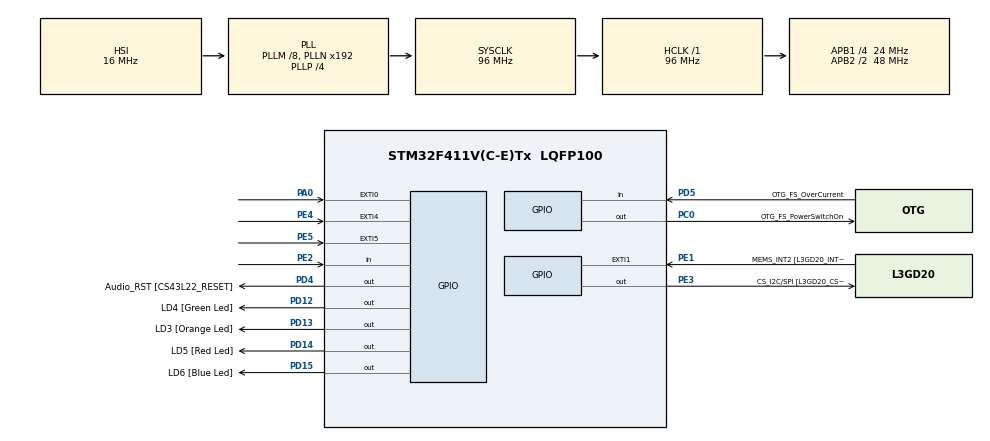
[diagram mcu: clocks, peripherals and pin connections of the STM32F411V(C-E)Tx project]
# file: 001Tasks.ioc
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Mcu.Family=STM32F4
Mcu.Name=STM32F411V(C-E)Tx
Mcu.Package=LQFP100
NVIC.PriorityGroup=NVIC_PRIORITYGROUP_4
NVIC.TIM5_IRQn=true\:0\:0\:false\:false\:true\:false\:true\:true
NVIC.TimeBase=TIM5_IRQn
NVIC.TimeBaseIP=TIM5
PA0-WKUP.GPIO_ModeDefaultEXTI=GPIO_MODE_EVT_RISING
PA0-WKUP.Signal=GPXTI0
PA10.GPIO_Label=OTG_FS_ID
PA10.Signal=USB_OTG_FS_ID
PA11.GPIO_Label=OTG_FS_DM
PA11.Signal=USB_OTG_FS_DM
PA12.GPIO_Label=OTG_FS_DP
PA12.Signal=USB_OTG_FS_DP
PA13.GPIO_Label=SWDIO
PA13.Signal=SYS_JTMS-SWDIO
PA14.GPIO_Label=SWCLK
PA14.Signal=SYS_JTCK-SWCLK
PA4.GPIO_Label=I2S3_WS [CS43L22_LRCK]
PA4.GPIO_Mode=GPIO_MODE_AF_PP
PA4.GPIO_PuPd=GPIO_NOPULL
PA4.GPIO_Speed=GPIO_SPEED_FREQ_LOW
PA4.Signal=I2S3_WS
PA5.GPIO_Label=SPI1_SCK [L3GD20_SC/SPC]
PA5.Signal=SPI1_SCK
PA6.GPIO_Label=SPI1_MISO [L3GD20_AS0/SDO]
PA6.Signal=SPI1_MISO
PA7.GPIO_Label=SPI1_MOSI [L3GD20_SDA/SDI/SDO]
PA7.Signal=SPI1_MOSI
PA9.GPIO_Label=VBUS_FS
PA9.Signal=USB_OTG_FS_VBUS
PB10.GPIO_Label=CLK_IN [MP45DT02_CLK]
PB10.Signal=I2S2_CK
PB12.Signal=I2S2_WS
PB3.GPIO_Label=SWO
PB3.Signal=SYS_JTDO-SWO
PB6.GPIO_Label=Audio_SCL [CS43L22_SCL]
PB6.GPIO_Mode=GPIO_MODE_AF_OD
PB6.GPIO_PuPd=GPIO_NOPULL
PB6.GPIO_Speed=GPIO_SPEED_FREQ_LOW
PB6.Signal=I2C1_SCL
PB9.GPIO_Label=Audio_SDA [CS43L22_SDA]
PB9.GPIO_Mode=GPIO_MODE_AF_OD
PB9.GPIO_PuPd=GPIO_NOPULL
PB9.GPIO_Speed=GPIO_SPEED_FREQ_LOW
PB9.Signal=I2C1_SDA
PC0.GPIO_Label=OTG_FS_PowerSwitchOn
PC0.PinState=GPIO_PIN_SET
PC0.Signal=GPIO_Output
PC10.GPIO_Label=I2S3_SCK [CS43L22_SCLK]
PC10.GPIO_Mode=GPIO_MODE_AF_PP
PC10.GPIO_PuPd=GPIO_NOPULL
PC10.GPIO_Speed=GPIO_SPEED_FREQ_LOW
PC10.Signal=I2S3_CK
PC12.GPIO_Label=I2S3_SD [CS43L22_SDIN]
PC12.GPIO_Mode=GPIO_MODE_AF_PP
PC12.GPIO_PuPd=GPIO_NOPULL
PC12.GPIO_Speed=GPIO_SPEED_FREQ_LOW
PC12.Signal=I2S3_SD
PC14-OSC32_IN.GPIO_Label=PC14-OSC32_IN
PC14-OSC32_IN.Signal=RCC_OSC32_IN
PC15-OSC32_OUT.GPIO_Label=PC15-OSC32_OUT
PC15-OSC32_OUT.Signal=RCC_OSC32_OUT
PC3.GPIO_Label=PDM_OUT [MP45DT02_DOUT]
PC3.Signal=I2S2_SD
PC7.GPIO_Label=I2S3_MCK [CS43L22_MCLK]
PC7.GPIO_Mode=GPIO_MODE_AF_PP
PC7.GPIO_PuPd=GPIO_NOPULL
PC7.GPIO_Speed=GPIO_SPEED_FREQ_LOW
PC7.Signal=I2S3_MCK
PD12.GPIO_Label=LD4 [Green Led]
PD12.GPIO_PuPd=GPIO_NOPULL
PD12.GPIO_Speed=GPIO_SPEED_FREQ_LOW
PD12.Signal=GPIO_Output
PD13.GPIO_Label=LD3 [Orange Led]
PD13.GPIO_PuPd=GPIO_NOPULL
PD13.GPIO_Speed=GPIO_SPEED_FREQ_LOW
PD13.Signal=GPIO_Output
PD14.GPIO_Label=LD5 [Red Led]
PD14.GPIO_PuPd=GPIO_NOPULL
PD14.GPIO_Speed=GPIO_SPEED_FREQ_LOW
PD14.Signal=GPIO_Output
PD15.GPIO_Label=LD6 [Blue Led]
PD15.GPIO_PuPd=GPIO_NOPULL
PD15.GPIO_Speed=GPIO_SPEED_FREQ_LOW
PD15.Signal=GPIO_Output
PD4.GPIO_Label=Audio_RST [CS43L22_RESET]
PD4.Signal=GPIO_Output
PD5.GPIO_Label=OTG_FS_OverCurrent
PD5.Signal=GPIO_Input
PE1.GPIO_Label=MEMS_INT2 [L3GD20_INT2]
PE1.GPIO_ModeDefaultEXTI=GPIO_MODE_EVT_RISING
PE1.Signal=GPXTI1
PE2.Signal=GPIO_Input
PE3.GPIO_Label=CS_I2C/SPI [L3GD20_CS_I2C/SPI]
PE3.Signal=GPIO_Output
PE4.GPIO_ModeDefaultEXTI=GPIO_MODE_EVT_RISING
PE4.Signal=GPXTI4
PE5.GPIO_ModeDefaultEXTI=GPIO_MODE_EVT_RISING
PE5.Signal=GPXTI5
PH0\ -\ OSC_IN.GPIO_Label=PH0-OSC_IN
PH0\ -\ OSC_IN.Signal=RCC_OSC_IN
PH1\ -\ OSC_OUT.GPIO_Label=PH1-OSC_OUT
PH1\ -\ OSC_OUT.Signal=RCC_OSC_OUT
ProjectManager.HeapSize=0x200
ProjectManager.StackSize=0x400
ProjectManager.TargetToolchain=STM32CubeIDE
RCC.48MHZClocksFreq_Value=48000000
RCC.AHBFreq_Value=96000000
RCC.APB1CLKDivider=RCC_HCLK_DIV4
RCC.APB1Freq_Value=24000000
RCC.APB1TimFreq_Value=48000000
RCC.APB2CLKDivider=RCC_HCLK_DIV2
RCC.APB2Freq_Value=48000000
RCC.APB2TimFreq_Value=96000000
RCC.CortexFreq_Value=96000000
RCC.HCLKFreq_Value=96000000
RCC.HSE_VALUE=8000000
RCC.HSI_VALUE=16000000
RCC.LSE_VALUE=32768
RCC.PLLI2SM=5
RCC.PLLI2SN=200
RCC.PLLM=8
RCC.PLLP=RCC_PLLP_DIV4
RCC.PLLQ=8
RCC.SYSCLKFreq_VALUE=96000000
RCC.SYSCLKSource=RCC_SYSCLKSOURCE_PLLCLK
RCC.VCOOutputFreq_Value=384000000
VP_SYS_VS_tim5.Mode=TIM5
board=STM32F411E-DISCO

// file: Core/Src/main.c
/* USER CODE BEGIN Header */
/**
  ******************************************************************************
  * @file           : main.c
  * @brief          : Main program body
  ******************************************************************************
  * @attention
  *
  * Copyright (c) 2024 STMicroelectronics.
  * All rights reserved.
  *
  * This software is licensed under terms that can be found in the LICENSE file
  * in the root directory of this software component.
  * If no LICENSE file comes with this software, it is provided AS-IS.
  *
  ******************************************************************************
  */
/* USER CODE END Header */
#include "main.h"

/* USER CODE BEGIN Includes */

#include <stdio.h>
#include "FreeRTOS.h"
#include "task.h"

/* USER CODE END Includes */

/* USER CODE BEGIN PV */

#define DWT_CTRL 				(*(volatile uint32_t *)0xE0001000)

/* USER CODE END PV */

void SystemClock_Config(void);
static void MX_GPIO_Init(void);
/* USER CODE BEGIN PFP */

static void task1_handler(void *parameters);
static void task2_handler(void *parameters);

/* USER CODE END PFP */

int main(void)
{

  /* USER CODE BEGIN 1 */

  TaskHandle_t task1_h;
  TaskHandle_t task2_h;

  BaseType_t status;

  /* USER CODE END 1 */

  /* MCU Configuration--------------------------------------------------------*/

  /* Reset of all peripherals, Initializes the Flash interface and the Systick. */
  HAL_Init();

  /* Configure the system clock */
  SystemClock_Config();

  /* Initialize all configured peripherals */
  MX_GPIO_Init();
  /* USER CODE BEGIN 2 */

  // Enable the CyCCNT counter
  DWT_CTRL |= ( 1 << 0 );

  SEGGER_SYSVIEW_Conf();
  SEGGER_SYSVIEW_Start();

  status = xTaskCreate(task1_handler, "Task-1", 200, "Hello world from Task-1", 2, &task1_h);

  configASSERT(status == pdPASS);

  status = xTaskCreate(task2_handler, "Task-2", 200, "Hello world from Task-2", 2, &task2_h);

  configASSERT(status == pdPASS);

  vTaskStartScheduler();

  /* USER CODE END 2 */

  /* Infinite loop */
  while (1)
  {

  }
}

void SystemClock_Config(void)
{
  RCC_OscInitTypeDef RCC_OscInitStruct = {0};
  RCC_ClkInitTypeDef RCC_ClkInitStruct = {0};

  /** Configure the main internal regulator output voltage
  */
  __HAL_RCC_PWR_CLK_ENABLE();
  __HAL_PWR_VOLTAGESCALING_CONFIG(PWR_REGULATOR_VOLTAGE_SCALE1);

  /** Initializes the RCC Oscillators according to the specified parameters
  * in the RCC_OscInitTypeDef structure.
  */
  RCC_OscInitStruct.OscillatorType = RCC_OSCILLATORTYPE_HSI;
  RCC_OscInitStruct.HSIState = RCC_HSI_ON;
  RCC_OscInitStruct.HSICalibrationValue = RCC_HSICALIBRATION_DEFAULT;
  RCC_OscInitStruct.PLL.PLLState = RCC_PLL_ON;
  RCC_OscInitStruct.PLL.PLLSource = RCC_PLLSOURCE_HSI;
  RCC_OscInitStruct.PLL.PLLM = 8;
  RCC_OscInitStruct.PLL.PLLN = 192;
  RCC_OscInitStruct.PLL.PLLP = RCC_PLLP_DIV4;
  RCC_OscInitStruct.PLL.PLLQ = 8;
  if (HAL_RCC_OscConfig(&RCC_OscInitStruct) != HAL_OK)
  {
    Error_Handler();
  }

  /** Initializes the CPU, AHB and APB buses clocks
  */
  RCC_ClkInitStruct.ClockType = RCC_CLOCKTYPE_HCLK|RCC_CLOCKTYPE_SYSCLK
                              |RCC_CLOCKTYPE_PCLK1|RCC_CLOCKTYPE_PCLK2;
  RCC_ClkInitStruct.SYSCLKSource = RCC_SYSCLKSOURCE_PLLCLK;
  RCC_ClkInitStruct.AHBCLKDivider = RCC_SYSCLK_DIV1;
  RCC_ClkInitStruct.APB1CLKDivider = RCC_HCLK_DIV4;
  RCC_ClkInitStruct.APB2CLKDivider = RCC_HCLK_DIV2;

  if (HAL_RCC_ClockConfig(&RCC_ClkInitStruct, FLASH_LATENCY_3) != HAL_OK)
  {
    Error_Handler();
  }
}

static void MX_GPIO_Init(void)
{
  GPIO_InitTypeDef GPIO_InitStruct = {0};

  /* GPIO Ports Clock Enable */
  __HAL_RCC_GPIOE_CLK_ENABLE();
  __HAL_RCC_GPIOC_CLK_ENABLE();
  __HAL_RCC_GPIOH_CLK_ENABLE();
  __HAL_RCC_GPIOA_CLK_ENABLE();
  __HAL_RCC_GPIOB_CLK_ENABLE();
  __HAL_RCC_GPIOD_CLK_ENABLE();

  /*Configure GPIO pin Output Level */
  HAL_GPIO_WritePin(CS_I2C_SPI_GPIO_Port, CS_I2C_SPI_Pin, GPIO_PIN_RESET);

  /*Configure GPIO pin Output Level */
  HAL_GPIO_WritePin(OTG_FS_PowerSwitchOn_GPIO_Port, OTG_FS_PowerSwitchOn_Pin, GPIO_PIN_SET);

  /*Configure GPIO pin Output Level */
  HAL_GPIO_WritePin(GPIOD, LD4_Pin|LD3_Pin|LD5_Pin|LD6_Pin
                          |Audio_RST_Pin, GPIO_PIN_RESET);

  /*Configure GPIO pin : PE2 */
  GPIO_InitStruct.Pin = GPIO_PIN_2;
  GPIO_InitStruct.Mode = GPIO_MODE_INPUT;
  GPIO_InitStruct.Pull = GPIO_NOPULL;
  HAL_GPIO_Init(GPIOE, &GPIO_InitStruct);

  /*Configure GPIO pin : CS_I2C_SPI_Pin */
  GPIO_InitStruct.Pin = CS_I2C_SPI_Pin;
  GPIO_InitStruct.Mode = GPIO_MODE_OUTPUT_PP;
  GPIO_InitStruct.Pull = GPIO_NOPULL;
  GPIO_InitStruct.Speed = GPIO_SPEED_FREQ_LOW;
  HAL_GPIO_Init(CS_I2C_SPI_GPIO_Port, &GPIO_InitStruct);

  /*Configure GPIO pins : PE4 PE5 MEMS_INT2_Pin */
  GPIO_InitStruct.Pin = GPIO_PIN_4|GPIO_PIN_5|MEMS_INT2_Pin;
  GPIO_InitStruct.Mode = GPIO_MODE_EVT_RISING;
  GPIO_InitStruct.Pull = GPIO_NOPULL;
  HAL_GPIO_Init(GPIOE, &GPIO_InitStruct);

  /*Configure GPIO pin : OTG_FS_PowerSwitchOn_Pin */
  GPIO_InitStruct.Pin = OTG_FS_PowerSwitchOn_Pin;
  GPIO_InitStruct.Mode = GPIO_MODE_OUTPUT_PP;
  GPIO_InitStruct.Pull = GPIO_NOPULL;
  GPIO_InitStruct.Speed = GPIO_SPEED_FREQ_LOW;
  HAL_GPIO_Init(OTG_FS_PowerSwitchOn_GPIO_Port, &GPIO_InitStruct);

  /*Configure GPIO pin : PDM_OUT_Pin */
  GPIO_InitStruct.Pin = PDM_OUT_Pin;
  GPIO_InitStruct.Mode = GPIO_MODE_AF_PP;
  GPIO_InitStruct.Pull = GPIO_NOPULL;
  GPIO_InitStruct.Speed = GPIO_SPEED_FREQ_LOW;
  GPIO_InitStruct.Alternate = GPIO_AF5_SPI2;
  HAL_GPIO_Init(PDM_OUT_GPIO_Port, &GPIO_InitStruct);

  /*Configure GPIO pin : PA0 */
  GPIO_InitStruct.Pin = GPIO_PIN_0;
  GPIO_InitStruct.Mode = GPIO_MODE_EVT_RISING;
  GPIO_InitStruct.Pull = GPIO_NOPULL;
  HAL_GPIO_Init(GPIOA, &GPIO_InitStruct);

  /*Configure GPIO pin : I2S3_WS_Pin */
  GPIO_InitStruct.Pin = I2S3_WS_Pin;
  GPIO_InitStruct.Mode = GPIO_MODE_AF_PP;
  GPIO_InitStruct.Pull = GPIO_NOPULL;
  GPIO_InitStruct.Speed = GPIO_SPEED_FREQ_LOW;
  GPIO_InitStruct.Alternate = GPIO_AF6_SPI3;
  HAL_GPIO_Init(I2S3_WS_GPIO_Port, &GPIO_InitStruct);

  /*Configure GPIO pins : SPI1_SCK_Pin SPI1_MISO_Pin SPI1_MOSI_Pin */
  GPIO_InitStruct.Pin = SPI1_SCK_Pin|SPI1_MISO_Pin|SPI1_MOSI_Pin;
  GPIO_InitStruct.Mode = GPIO_MODE_AF_PP;
  GPIO_InitStruct.Pull = GPIO_NOPULL;
  GPIO_InitStruct.Speed = GPIO_SPEED_FREQ_VERY_HIGH;
  GPIO_InitStruct.Alternate = GPIO_AF5_SPI1;
  HAL_GPIO_Init(GPIOA, &GPIO_InitStruct);

  /*Configure GPIO pins : CLK_IN_Pin PB12 */
  GPIO_InitStruct.Pin = CLK_IN_Pin|GPIO_PIN_12;
  GPIO_InitStruct.Mode = GPIO_MODE_AF_PP;
  GPIO_InitStruct.Pull = GPIO_NOPULL;
  GPIO_InitStruct.Speed = GPIO_SPEED_FREQ_LOW;
  GPIO_InitStruct.Alternate = GPIO_AF5_SPI2;
  HAL_GPIO_Init(GPIOB, &GPIO_InitStruct);

  /*Configure GPIO pins : LD4_Pin LD3_Pin LD5_Pin LD6_Pin
                           Audio_RST_Pin */
  GPIO_InitStruct.Pin = LD4_Pin|LD3_Pin|LD5_Pin|LD6_Pin
                          |Audio_RST_Pin;
  GPIO_InitStruct.Mode = GPIO_MODE_OUTPUT_PP;
  GPIO_InitStruct.Pull = GPIO_NOPULL;
  GPIO_InitStruct.Speed = GPIO_SPEED_FREQ_LOW;
  HAL_GPIO_Init(GPIOD, &GPIO_InitStruct);

  /*Configure GPIO pins : I2S3_MCK_Pin I2S3_SCK_Pin I2S3_SD_Pin */
  GPIO_InitStruct.Pin = I2S3_MCK_Pin|I2S3_SCK_Pin|I2S3_SD_Pin;
  GPIO_InitStruct.Mode = GPIO_MODE_AF_PP;
  GPIO_InitStruct.Pull = GPIO_NOPULL;
  GPIO_InitStruct.Speed = GPIO_SPEED_FREQ_LOW;
  GPIO_InitStruct.Alternate = GPIO_AF6_SPI3;
  HAL_GPIO_Init(GPIOC, &GPIO_InitStruct);

  /*Configure GPIO pin : VBUS_FS_Pin */
  GPIO_InitStruct.Pin = VBUS_FS_Pin;
  GPIO_InitStruct.Mode = GPIO_MODE_INPUT;
  GPIO_InitStruct.Pull = GPIO_NOPULL;
  HAL_GPIO_Init(VBUS_FS_GPIO_Port, &GPIO_InitStruct);

  /*Configure GPIO pins : OTG_FS_ID_Pin OTG_FS_DM_Pin OTG_FS_DP_Pin */
  GPIO_InitStruct.Pin = OTG_FS_ID_Pin|OTG_FS_DM_Pin|OTG_FS_DP_Pin;
  GPIO_InitStruct.Mode = GPIO_MODE_AF_PP;
  GPIO_InitStruct.Pull = GPIO_NOPULL;
  GPIO_InitStruct.Speed = GPIO_SPEED_FREQ_VERY_HIGH;
  GPIO_InitStruct.Alternate = GPIO_AF10_OTG_FS;
  HAL_GPIO_Init(GPIOA, &GPIO_InitStruct);

  /*Configure GPIO pin : OTG_FS_OverCurrent_Pin */
  GPIO_InitStruct.Pin = OTG_FS_OverCurrent_Pin;
  GPIO_InitStruct.Mode = GPIO_MODE_INPUT;
  GPIO_InitStruct.Pull = GPIO_NOPULL;
  HAL_GPIO_Init(OTG_FS_OverCurrent_GPIO_Port, &GPIO_InitStruct);

  /*Configure GPIO pins : Audio_SCL_Pin Audio_SDA_Pin */
  GPIO_InitStruct.Pin = Audio_SCL_Pin|Audio_SDA_Pin;
  GPIO_InitStruct.Mode = GPIO_MODE_AF_OD;
  GPIO_InitStruct.Pull = GPIO_NOPULL;
  GPIO_InitStruct.Speed = GPIO_SPEED_FREQ_LOW;
  GPIO_InitStruct.Alternate = GPIO_AF4_I2C1;
  HAL_GPIO_Init(GPIOB, &GPIO_InitStruct);

}

/* USER CODE BEGIN 4 */

static void task1_handler(void *parameters)
{

	char msg[100];

	while(1)
	{

		//printf("%s\n", (char *)parameters);

		snprintf(msg, 100, "%s\n", (char *)parameters);
		SEGGER_SYSVIEW_PrintfTarget(msg);

		taskYIELD();

	}

}

static void task2_handler(void *parameters)
{

	char msg[100];

	while(1)
	{

		//printf("%s\n", (char *)parameters);

		snprintf(msg, 100, "%s\n", (char *)parameters);
		SEGGER_SYSVIEW_PrintfTarget(msg);

		taskYIELD();

	}

}

/* USER CODE END 4 */

void HAL_TIM_PeriodElapsedCallback(TIM_HandleTypeDef *htim)
{
  if (htim->Instance == TIM5) {
    HAL_IncTick();
  }
}

void Error_Handler(void)
{
  __disable_irq();
  while (1)
  {
  }
}
